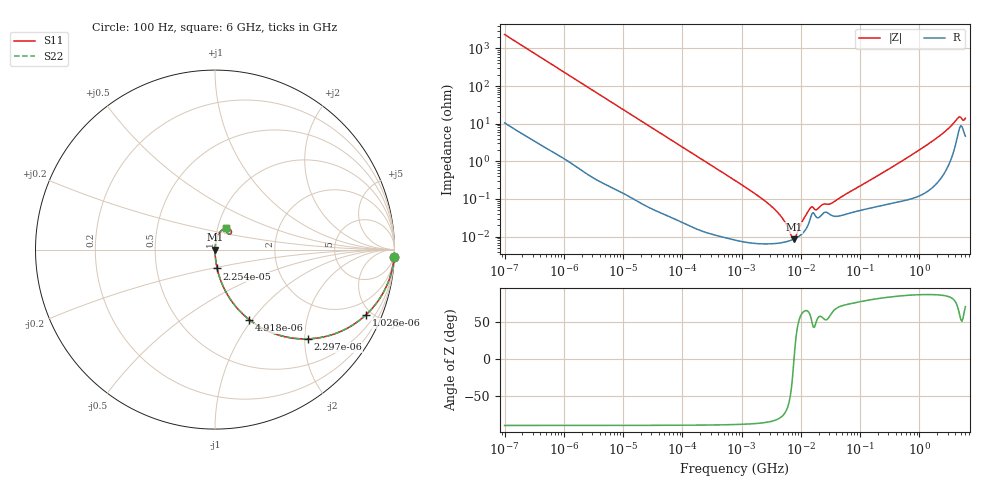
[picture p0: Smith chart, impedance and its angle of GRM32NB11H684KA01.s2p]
!Murata Part Number: GRM32NB11H684KA01
!These Parameters are Measured in Series Mode Connection
!Data Generated on Mar 30, 2021
!  o--ll--o
!Port1  Port2
!  o------o
!Operation Temp=25[degC], DC Bias Voltage=0[V]
!Freq. Start=100[Hz] Stop=6[GHz] 401[Steps]
# Hz S RI R 50
!Freq.(Hz) S11(Real) S11(Imag) S21(Real) S21(Imag) S12(Real) S12(Imag) S22(Real) S22(Imag)
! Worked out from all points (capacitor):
!   401 points, 100 Hz to 6 GHz, reference 50 ohm
!   read as one part in series: C = 674 nF near 109 Hz
!   lowest |Z| = 8.61 mohm at 7.6 MHz (marker M1)
!   series resonance near 7.677 MHz, so ESL is about 640 pH
!   S11 on the Smith chart (normalised r, x): 100 Hz: 1, -47; 1.026 kHz: 1.02, -4.63; 2.297 kHz: 1.01, -2.07; 4.918 kHz: 1.00, -0.97; 22.54 kHz: 1.00, -0.21; 6 GHz: 1.09, +0.27
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100  0.998 -0.0423  0.00198 0.0423  0.00198 0.0423  0.998 -0.0423
335  0.9797 -0.1386  0.0203 0.1386  0.0203 0.1386  0.9797 -0.1386
1026  0.8414 -0.3628  0.1586 0.3628  0.1586 0.3628  0.8414 -0.3628
2008  0.5836 -0.4906  0.4164 0.4906  0.4164 0.4906  0.5836 -0.4906
2297  0.5177 -0.4973  0.4823 0.4973  0.4823 0.4973  0.5177 -0.4973
4918  0.1916 -0.391  0.8084 0.391  0.8084 0.391  0.1916 -0.391
9204  0.0644 -0.2426  0.9356 0.2426  0.9356 0.2426  0.0644 -0.2426
22537  0.0119 -0.1051  0.9881 0.1051  0.9881 0.1051  0.0119 -0.1051
40335  0.00398 -0.0593  0.996 0.0593  0.996 0.0593  0.00398 -0.0593
774597  9.08e-05 -0.00312  0.9999 0.00312  0.9999 0.00312  9.08e-05 -0.00312
3549919  6.57e-05 -0.000546  0.9999 0.000546  0.9999 0.000546  6.57e-05 -0.000546
4856642  6.97e-05 -0.000306  0.9999 0.000306  0.9999 0.000306  6.97e-05 -0.000306
7599586  8.58e-05 -6.6e-06  0.9999 6.6e-06  0.9999 6.6e-06  8.58e-05 -6.6e-06
8692127  9.56e-05 8.3e-05  0.9999 -8.3e-05  0.9999 -8.3e-05  9.56e-05 8.3e-05
1.300572e7  0.000191 0.000402  0.9998 -0.000402  0.9998 -0.000402  0.000191 0.000402
1.555665e7  0.000416 0.000467  0.9996 -0.000467  0.9996 -0.000467  0.000416 0.000467
1.86079e7  0.000323 0.000414  0.9997 -0.000414  0.9997 -0.000414  0.000323 0.000414
3.330331e7  0.000366 0.000684  0.9996 -0.000684  0.9996 -0.000684  0.000366 0.000684
3.124326e8  0.000784 0.00634  0.9992 -0.00634  0.9992 -0.00634  0.000784 0.00634
1.873145e9  0.00392 0.0391  0.9961 -0.0391  0.9961 -0.0391  0.00392 0.0391
4.385646e9  0.0568 0.1176  0.9432 -0.1176  0.9432 -0.1176  0.0568 0.1176
6e9  0.0602 0.1193  0.9398 -0.1193  0.9398 -0.1193  0.0602 0.1193
